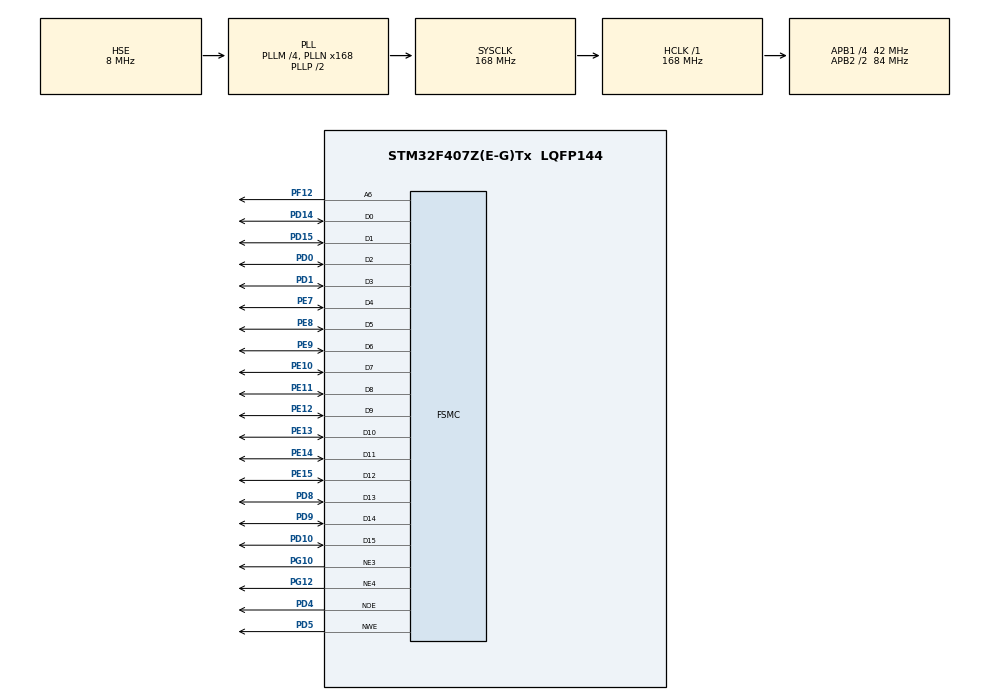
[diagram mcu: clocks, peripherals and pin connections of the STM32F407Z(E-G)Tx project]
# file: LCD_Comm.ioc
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FSMC.AddressSetupTime3=0
FSMC.BusTurnAroundDuration3=0
FSMC.BusTurnAroundDuration4=0
FSMC.DataSetupTime3=15
FSMC.DataSetupTime4=60
FSMC.ExtendedAddressSetupTime3=0
FSMC.ExtendedAddressSetupTime4=9
FSMC.ExtendedBusTurnAroundDuration3=0
FSMC.ExtendedBusTurnAroundDuration4=0
FSMC.ExtendedDataSetupTime3=15
FSMC.ExtendedDataSetupTime4=8
FSMC.ExtendedMode3=FSMC_EXTENDED_MODE_ENABLE
FSMC.ExtendedMode4=FSMC_EXTENDED_MODE_ENABLE
Mcu.Family=STM32F4
Mcu.Name=STM32F407Z(E-G)Tx
Mcu.Package=LQFP144
NVIC.PriorityGroup=NVIC_PRIORITYGROUP_4
PA13.Mode=Serial_Wire
PA13.Signal=SYS_JTMS-SWDIO
PA14.Mode=Serial_Wire
PA14.Signal=SYS_JTCK-SWCLK
PD0.Signal=FSMC_D2_DA2
PD1.Signal=FSMC_D3_DA3
PD10.Signal=FSMC_D15_DA15
PD14.Signal=FSMC_D0_DA0
PD15.Signal=FSMC_D1_DA1
PD4.Signal=FSMC_NOE
PD5.Signal=FSMC_NWE
PD8.Signal=FSMC_D13_DA13
PD9.Signal=FSMC_D14_DA14
PE10.Signal=FSMC_D7_DA7
PE11.Signal=FSMC_D8_DA8
PE12.Signal=FSMC_D9_DA9
PE13.Signal=FSMC_D10_DA10
PE14.Signal=FSMC_D11_DA11
PE15.Signal=FSMC_D12_DA12
PE7.Signal=FSMC_D4_DA4
PE8.Signal=FSMC_D5_DA5
PE9.Signal=FSMC_D6_DA6
PF12.Signal=FSMC_A6
PG10.Mode=NorPsramChipSelect3_3
PG10.Signal=FSMC_NE3
PG12.Mode=NorPsramChipSelect4_4
PG12.Signal=FSMC_NE4
PH0-OSC_IN.Mode=HSE-External-Oscillator
PH0-OSC_IN.Signal=RCC_OSC_IN
PH1-OSC_OUT.Mode=HSE-External-Oscillator
PH1-OSC_OUT.Signal=RCC_OSC_OUT
ProjectManager.HeapSize=0x200
ProjectManager.StackSize=0x400
ProjectManager.TargetToolchain=MDK-ARM V5.32
RCC.48MHZClocksFreq_Value=84000000
RCC.AHBFreq_Value=168000000
RCC.APB1CLKDivider=RCC_HCLK_DIV4
RCC.APB1Freq_Value=42000000
RCC.APB1TimFreq_Value=84000000
RCC.APB2CLKDivider=RCC_HCLK_DIV2
RCC.APB2Freq_Value=84000000
RCC.APB2TimFreq_Value=168000000
RCC.CortexFreq_Value=168000000
RCC.HCLKFreq_Value=168000000
RCC.HSE_VALUE=8000000
RCC.HSI_VALUE=16000000
RCC.LSE_VALUE=32768
RCC.PLLM=4
RCC.PLLN=168
RCC.PLLSourceVirtual=RCC_PLLSOURCE_HSE
RCC.SYSCLKFreq_VALUE=168000000
RCC.SYSCLKSource=RCC_SYSCLKSOURCE_PLLCLK
RCC.VCOOutputFreq_Value=336000000
SH.FSMC_A6.0=FSMC_A6,A6_3
SH.FSMC_A6.1=FSMC_A6,A6_4
SH.FSMC_D0_DA0.0=FSMC_D0,16b-d3
SH.FSMC_D0_DA0.1=FSMC_D0,16b-d4
SH.FSMC_D10_DA10.0=FSMC_D10,16b-d3
SH.FSMC_D10_DA10.1=FSMC_D10,16b-d4
SH.FSMC_D11_DA11.0=FSMC_D11,16b-d3
SH.FSMC_D11_DA11.1=FSMC_D11,16b-d4
SH.FSMC_D12_DA12.0=FSMC_D12,16b-d3
SH.FSMC_D12_DA12.1=FSMC_D12,16b-d4
SH.FSMC_D13_DA13.0=FSMC_D13,16b-d3
SH.FSMC_D13_DA13.1=FSMC_D13,16b-d4
SH.FSMC_D14_DA14.0=FSMC_D14,16b-d3
SH.FSMC_D14_DA14.1=FSMC_D14,16b-d4
SH.FSMC_D15_DA15.0=FSMC_D15,16b-d3
SH.FSMC_D15_DA15.1=FSMC_D15,16b-d4
SH.FSMC_D1_DA1.0=FSMC_D1,16b-d3
SH.FSMC_D1_DA1.1=FSMC_D1,16b-d4
SH.FSMC_D2_DA2.0=FSMC_D2,16b-d3
SH.FSMC_D2_DA2.1=FSMC_D2,16b-d4
SH.FSMC_D3_DA3.0=FSMC_D3,16b-d3
SH.FSMC_D3_DA3.1=FSMC_D3,16b-d4
SH.FSMC_D4_DA4.0=FSMC_D4,16b-d3
SH.FSMC_D4_DA4.1=FSMC_D4,16b-d4
SH.FSMC_D5_DA5.0=FSMC_D5,16b-d3
SH.FSMC_D5_DA5.1=FSMC_D5,16b-d4
SH.FSMC_D6_DA6.0=FSMC_D6,16b-d3
SH.FSMC_D6_DA6.1=FSMC_D6,16b-d4
SH.FSMC_D7_DA7.0=FSMC_D7,16b-d3
SH.FSMC_D7_DA7.1=FSMC_D7,16b-d4
SH.FSMC_D8_DA8.0=FSMC_D8,16b-d3
SH.FSMC_D8_DA8.1=FSMC_D8,16b-d4
SH.FSMC_D9_DA9.0=FSMC_D9,16b-d3
SH.FSMC_D9_DA9.1=FSMC_D9,16b-d4
SH.FSMC_NOE.0=FSMC_NOE,Lcd3
SH.FSMC_NOE.1=FSMC_NOE,Lcd4
SH.FSMC_NWE.0=FSMC_NWE,Lcd3
SH.FSMC_NWE.1=FSMC_NWE,Lcd4
board=custom

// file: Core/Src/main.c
/* USER CODE BEGIN Header */
/**
  ******************************************************************************
  * @file           : main.c
  * @brief          : Main program body
  ******************************************************************************
  * @attention
  *
  * Copyright (c) 2026 STMicroelectronics.
  * All rights reserved.
  *
  * This software is licensed under terms that can be found in the LICENSE file
  * in the root directory of this software component.
  * If no LICENSE file comes with this software, it is provided AS-IS.
  *
  ******************************************************************************
  */
/* USER CODE END Header */
#include "main.h"
#include "gpio.h"
#include "fsmc.h"

/* USER CODE BEGIN Includes */
#include <stdint.h>
/* USER CODE END Includes */

/* USER CODE BEGIN 0 */

// 第一关：地址映射
#define PORT16(addr) (*((volatile uint16_t *)(addr)))
#define SEG_ADDR    0x68000000
#define LCD_CMD_ADDR  0x6C000000
#define LCD_DATA_ADDR (0x6C000000 | (1 << 7))

void cmd(uint8_t c) { PORT16(LCD_CMD_ADDR) = c; }
void data(uint16_t d) { PORT16(LCD_DATA_ADDR) = d; }

// 第二关：数码管驱动
const uint8_t seg_table[11] = {0xC0, 0xF9, 0xA4, 0xB0, 0x99, 0x92, 0x82, 0xF8, 0x80, 0x90, 0xFF}; // 多加了0xFF（索引10）表示空白

void scan_frame(const uint8_t digit[6]) {
    uint16_t select = 0xFE; // 1111 1110
    for(int i = 0; i < 6; i++) {
        PORT16(SEG_ADDR) = (select << 8) | seg_table[digit[i]];
        select = (select << 1) | 0x01; // 左移，如 1111 1101
        HAL_Delay(1); // 短暂延时防重影
    }
}

// 第四关：LCD初始化和刷屏
void panel_init(void) {
    // 若复位引脚受MCU控制，这里需要拉低再拉高复位，若直接接RST则直接延时
    HAL_Delay(50);
    cmd(0xCF); data(0x00); data(0x83); data(0X30);
    cmd(0xED); data(0x64); data(0x03); data(0X12); data(0x81);
    cmd(0xE8); data(0x85); data(0x01); data(0x79);
    cmd(0xCB); data(0x39); data(0x2C); data(0x00); data(0x34); data(0x02);
    cmd(0xF7); data(0x20);
    cmd(0xEA); data(0x00); data(0x00);
    cmd(0xC0); data(0x1B);
    cmd(0xC1); data(0x12);
    cmd(0xC5); data(0x08); data(0x26);
    cmd(0xC7); data(0xB0);

    // 关键：0x48 横屏，0x3A 设置RGB565
    cmd(0x36); data(0x48);
    cmd(0x3A); data(0x55);

    cmd(0xB1); data(0x00); data(0x1B);
    cmd(0xB6); data(0x0A); data(0xA2);
    cmd(0xF2); data(0x00);
    cmd(0x26); data(0x01);
    cmd(0xE0); data(0x0F); data(0x31); data(0x2B); data(0x0C); data(0x0E); data(0x08); data(0x4E); data(0xF1); data(0x37); data(0x07); data(0x10); data(0x03); data(0x0E); data(0x09); data(0x00);
    cmd(0xE1); data(0x00); data(0x0E); data(0x14); data(0x03); data(0x11); data(0x07); data(0x31); data(0xC1); data(0x48); data(0x08); data(0x0F); data(0x0C); data(0x31); data(0x36); data(0x0F);
    cmd(0x11); // 退出睡眠
    HAL_Delay(120);
    cmd(0x29); // 开显示
}

void window(uint16_t x0, uint16_t y0, uint16_t x1, uint16_t y1) {
    cmd(0x2A); data(x0 >> 8); data(x0 & 0xFF); data(x1 >> 8); data(x1 & 0xFF);
    cmd(0x2B); data(y0 >> 8); data(y0 & 0xFF); data(y1 >> 8); data(y1 & 0xFF);
    cmd(0x2C);
}

void fill(uint16_t color) {
    for(uint32_t i = 0; i < 76800; i++) { // 320*240
        data(color);
    }
}

// 第五关：字模显示
// 5列x7行的字模
const uint8_t font_H[7] = {0x11, 0x11, 0x11, 0x1F, 0x11, 0x11, 0x11};
const uint8_t font_I[7] = {0x0E, 0x04, 0x04, 0x04, 0x04, 0x04, 0x0E};
const uint8_t font_ex[7] = {0x04, 0x04, 0x04, 0x04, 0x04, 0x00, 0x04}; // 感叹号

void glyph(uint16_t x, uint16_t y, const uint8_t rows[7]) {
    window(x, y, x + 11, y + 13); // 5列放大2倍=10，加1列间距=12；7行放大2倍=14，所以高度+13

    for(int py = 0; py < 14; py++) {
        for(int px = 0; px < 12; px++) {
            int row = py / 2;
            int col = px / 2;

            // 如果是前5列（即字符本身），且对应位为1，则写黑字
            if (col < 5 && (rows[row] & (0x10 >> col))) {
                data(0x0000); // 黑字
            } else {
                data(0xFFFF); // 白底
            }
        }
    }
}
/* USER CODE END 0 */
/* USER CODE END 0 */
/* USER CODE END 0 */
// LCD2 同理
/* USER CODE END 0 */
void SystemClock_Config(void);
int main(void)
{

  /* MCU Configuration--------------------------------------------------------*/

  /* Reset of all peripherals, Initializes the Flash interface and the Systick. */
  HAL_Init();

  /* Configure the system clock */
  SystemClock_Config();

  /* Initialize all configured peripherals */
  MX_GPIO_Init();
  MX_FSMC_Init();
  /* USER CODE BEGIN 2 */

  /* USER CODE BEGIN 2 */
  // 测试数码管
  //uint8_t digits[6] = {1, 2, 3, 4, 5, 6};

  // LCD初始化测试
  panel_init();

  // 画色块测试
  window(0, 0, 479, 319); // 全屏窗口
  fill(0xF800); // 红色 (RGB565)
  HAL_Delay(500);
  fill(0x07E0); // 绿色
  HAL_Delay(500);
  fill(0x001F); // 蓝色
  HAL_Delay(500);
  fill(0xFFFF); // 白色背景

	  // 4. 画字 "HI!"
  glyph(142, 113, font_H);
  glyph(154, 113, font_I);
  glyph(166, 113, font_ex);

  // 5. 准备数码管滚动数据 (讲义要求：五个前导空白、1~8、五个后缀空白)
  // 使用 10 代表空白
  uint8_t scroll_data[18] = {10,10,10,10,10,0,1,2,3,4,5,10,10,10,10,10,10,10};
  uint8_t digits[6] = {10,10,10,10,10,10};
  uint32_t last_tick = 0;
  uint8_t start_idx = 0;
  /* USER CODE END 2 */

  /* Infinite loop */
  /* USER CODE BEGIN WHILE */
  while (1)
  {
    // 高频扫描数码管，防止闪烁
    scan_frame(digits);

    // 滚动逻辑：每 250ms 截取数组的一段放入 digits 并更新显示
    if (HAL_GetTick() - last_tick >= 250) {
        last_tick = HAL_GetTick();

        // 截取 6 个数
        for(int i = 0; i < 6; i++) {
            digits[i] = scroll_data[start_idx + i];
        }

        start_idx++;
        if(start_idx > 12) { // 数组长18，截取长6，最大索引不能超过 18-6=12
            start_idx = 0; // 回到开头
        }
    }
    /* USER CODE END WHILE */
  }
  /* USER CODE END 2 */

  /* USER CODE END 2 */

  /* Infinite loop */
  while (1)
  {

    /* USER CODE BEGIN 3 */
		    /* USER CODE BEGIN 3 */
    // 主循环里不断扫描数码管，防止闪烁
    scan_frame(digits);

    // 显示一次 HI! 即可，不用放在死循环里狂刷
    // 静态变量控制只画一次
    static uint8_t drawn = 0;
    if(!drawn) {
        glyph(100, 100, font_H);
        glyph(120, 100, font_I);
        glyph(140, 100, font_ex);
        drawn = 1;
    }

    // 如果你想数码管跑起来，可以在这里加计数逻辑
    // ...
  }
  /* USER CODE END 3 */
}

void SystemClock_Config(void)
{
  RCC_OscInitTypeDef RCC_OscInitStruct = {0};
  RCC_ClkInitTypeDef RCC_ClkInitStruct = {0};

  /** Configure the main internal regulator output voltage
  */
  __HAL_RCC_PWR_CLK_ENABLE();
  __HAL_PWR_VOLTAGESCALING_CONFIG(PWR_REGULATOR_VOLTAGE_SCALE1);

  /** Initializes the RCC Oscillators according to the specified parameters
  * in the RCC_OscInitTypeDef structure.
  */
  RCC_OscInitStruct.OscillatorType = RCC_OSCILLATORTYPE_HSE;
  RCC_OscInitStruct.HSEState = RCC_HSE_ON;
  RCC_OscInitStruct.PLL.PLLState = RCC_PLL_ON;
  RCC_OscInitStruct.PLL.PLLSource = RCC_PLLSOURCE_HSE;
  RCC_OscInitStruct.PLL.PLLM = 4;
  RCC_OscInitStruct.PLL.PLLN = 168;
  RCC_OscInitStruct.PLL.PLLP = RCC_PLLP_DIV2;
  RCC_OscInitStruct.PLL.PLLQ = 4;
  if (HAL_RCC_OscConfig(&RCC_OscInitStruct) != HAL_OK)
  {
    Error_Handler();
  }

  /** Initializes the CPU, AHB and APB buses clocks
  */
  RCC_ClkInitStruct.ClockType = RCC_CLOCKTYPE_HCLK|RCC_CLOCKTYPE_SYSCLK
                              |RCC_CLOCKTYPE_PCLK1|RCC_CLOCKTYPE_PCLK2;
  RCC_ClkInitStruct.SYSCLKSource = RCC_SYSCLKSOURCE_PLLCLK;
  RCC_ClkInitStruct.AHBCLKDivider = RCC_SYSCLK_DIV1;
  RCC_ClkInitStruct.APB1CLKDivider = RCC_HCLK_DIV4;
  RCC_ClkInitStruct.APB2CLKDivider = RCC_HCLK_DIV2;

  if (HAL_RCC_ClockConfig(&RCC_ClkInitStruct, FLASH_LATENCY_5) != HAL_OK)
  {
    Error_Handler();
  }
}

void Error_Handler(void)
{
  __disable_irq();
  while (1)
  {
  }
}
